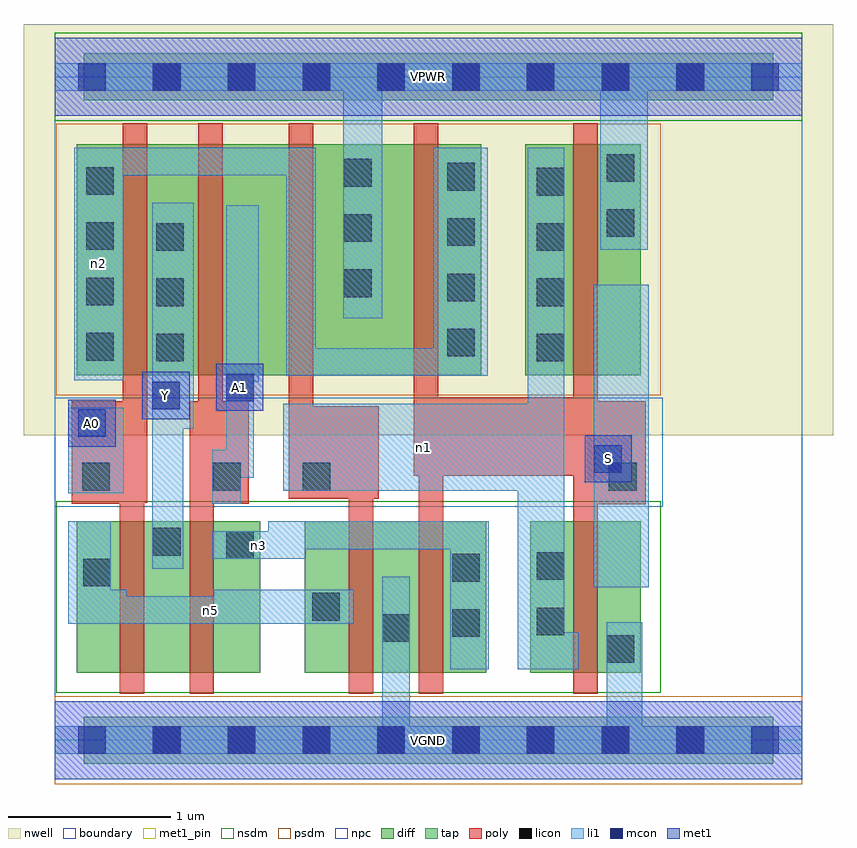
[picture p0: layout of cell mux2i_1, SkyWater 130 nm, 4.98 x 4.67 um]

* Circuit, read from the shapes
.subckt mux2i_1 A0 A1 S VGND VPWR Y n1 n2 n3 n5
XM1 Y A0 n5 VGND sky130_fd_pr__nfet_01v8 w=0.93 l=0.15
XM2 n3 A1 Y VGND sky130_fd_pr__nfet_01v8 w=0.93 l=0.15
XM3 VGND n1 n5 VGND sky130_fd_pr__nfet_01v8 w=0.93 l=0.15
XM4 n3 S VGND VGND sky130_fd_pr__nfet_01v8 w=0.93 l=0.15
XM5 VGND S n1 VGND sky130_fd_pr__nfet_01v8 w=0.93 l=0.15
XM6 Y A0 n2 VPWR sky130_fd_pr__pfet_01v8 w=1.42 l=0.15
XM7 n4 A1 Y VPWR sky130_fd_pr__pfet_01v8 w=1.42 l=0.15
XM8 VPWR n1 n4 VPWR sky130_fd_pr__pfet_01v8 w=1.42 l=0.15
XM9 n2 S VPWR VPWR sky130_fd_pr__pfet_01v8 w=1.42 l=0.15
XM10 VPWR S n1 VPWR sky130_fd_pr__pfet_01v8 w=1.42 l=0.15
.ends

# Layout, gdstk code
import gdstk
lib = gdstk.Library(unit=1e-6, precision=1e-09)
def R(c, l, rs):  # rectangles x0, y0, x1, y1
    for r in rs: c.add(gdstk.rectangle(r[:2], r[2:], *l))
def A(c, l, x, y, w, h, nx, ny, dx, dy):  # array of equal rectangles
    R(c, l, [(x+i*dx, y+j*dy, x+i*dx+w, y+j*dy+h) for i in range(nx) for j in range(ny)])
nwell = (64, 20)
diff = (65, 20)
tap = (65, 44)
poly = (66, 20)
licon = (66, 44)
li1 = (67, 20)
mcon = (67, 44)
met1_pin = (68, 16)
met1 = (68, 20)
nsdm = (93, 44)
psdm = (94, 20)
npc = (95, 20)
boundary = (235, 4)

mux2i_1 = lib.new_cell('mux2i_1')
R(mux2i_1, nwell, [(-0.19,1.875,4.79,4.405), (0,1.875,4.6,4.405)])
R(mux2i_1, diff, [(0.135,0.415,1.265,1.345), (1.54,0.415,2.655,1.345), (2.925,0.415,3.605,1.345), (0.135,2.245,2.625,3.665), (2.895,2.245,3.605,3.665)])
R(mux2i_1, tap, [(0.18,-0.145,4.42,0.145), (0.18,3.935,4.42,4.225)])
R(mux2i_1, poly, [(0.4,0.285,0.55,2.085), (0.83,0.285,0.98,2.085), (1.81,0.285,1.96,2.055), (2.24,0.285,2.39,2.11), (3.19,0.285,3.34,3.795), (3.19,1.45,3.635,2.085), (0.105,1.455,0.55,2.085), (0.83,1.455,1.195,2.085), (0.885,1.455,1.035,3.795), (0.42,1.46,0.57,3.795), (1.44,1.485,1.59,3.795), (1.44,1.485,1.995,2.055), (2.21,1.625,2.36,3.795), (2.21,1.625,3.34,2.11)])
A(mux2i_1, licon, 0.605, -0.085, 0.17, 0.17, 8, 2, 0.46, 4.08)
A(mux2i_1, licon, 0.625, 2.33, 0.17, 0.17, 1, 3, 0, 0.34)
A(mux2i_1, licon, 2.965, 2.33, 0.17, 0.17, 1, 4, 0, 0.34)
A(mux2i_1, licon, 0.195, 2.335, 0.17, 0.17, 1, 4, 0, 0.34)
A(mux2i_1, licon, 2.415, 2.36, 0.17, 0.17, 1, 4, 0, 0.34)
A(mux2i_1, licon, 1.78, 2.725, 0.17, 0.17, 1, 3, 0, 0.34)
R(mux2i_1, licon, [(3.395,0.475,3.565,0.645), (2.015,0.605,2.185,0.775), (2.445,0.635,2.615,0.805), (2.965,0.645,3.135,0.815), (1.585,0.735,1.755,0.905), (0.175,0.945,0.345,1.115), (2.445,0.975,2.615,1.145), (2.965,0.985,3.135,1.155), (1.055,1.115,1.225,1.285), (0.605,1.135,0.775,1.305), (0.17,1.535,0.34,1.705), (0.975,1.535,1.145,1.705), (1.525,1.535,1.695,1.705), (3.41,1.535,3.58,1.705), (3.395,3.095,3.565,3.265), (3.395,3.435,3.565,3.605)])
R(mux2i_1, li1, [(0,-0.085,4.6,0.085), (2.015,-0.085,2.185,1.005), (3.395,-0.085,3.615,0.725), (2.435,0.435,2.67,1.345), (2.85,0.435,3.135,2.07), (2.85,0.435,3.22,0.665), (2.91,0.435,3.135,3.645), (0.085,0.715,1.84,0.885), (0.085,0.715,0.345,1.345), (0.085,0.715,0.445,0.925), (0.98,0.715,1.84,0.925), (3.315,0.94,3.655,2.8), (0.6,1.055,0.79,3.305), (0.97,1.115,1.545,1.285), (1.315,1.175,2.435,1.345), (0.97,1.455,1.145,1.785), (0.085,1.52,0.425,2.045), (1.405,1.535,3.135,2.07), (1.145,1.615,1.225,3.29), (1.055,1.785,1.225,3.29), (0.6,1.915,0.855,3.305), (1.055,2.205,1.255,3.29), (0.12,2.215,0.425,3.645), (1.425,2.24,2.665,2.41), (1.425,2.24,1.605,3.645), (2.33,2.24,2.665,3.645), (1.775,2.595,2.015,4.165), (3.355,3.015,3.65,4.165), (0.12,3.475,1.605,3.645), (0,3.995,4.6,4.165)])
A(mux2i_1, mcon, 0.145, -0.085, 0.17, 0.17, 10, 2, 0.46, 4.08)
R(mux2i_1, mcon, [(3.32,1.645,3.49,1.815), (0.145,1.865,0.315,2.035), (0.6,2.035,0.77,2.205), (1.055,2.085,1.225,2.255)])
R(mux2i_1, met1_pin, [(0,-0.24,4.6,0.24), (3.26,1.585,3.55,1.875), (0.085,1.805,0.375,2.095), (0.54,1.975,0.83,2.265), (0.995,2.025,1.285,2.315), (0,3.84,4.6,4.32)])
R(mux2i_1, met1, [(0,-0.24,4.6,0.24), (3.26,1.585,3.55,1.875), (0.085,1.805,0.375,2.095), (0.54,1.975,0.83,2.265), (0.995,2.025,1.285,2.315), (0,3.84,4.6,4.32)])
R(mux2i_1, nsdm, [(0.01,0.29,3.73,1.47), (0,3.81,4.6,4.35)])
R(mux2i_1, psdm, [(0,-0.27,4.6,0.27), (0.01,2.12,3.73,3.79)])
R(mux2i_1, npc, [(0,1.435,3.74,2.105)])
R(mux2i_1, boundary, [(0,0,4.6,4.08)])
mux2i_1.add(gdstk.Label('n5', (0.962,0.8), layer=67, texttype=5))
mux2i_1.add(gdstk.Label('n3', (1.257,1.2), layer=67, texttype=5))
mux2i_1.add(gdstk.Label('n2', (0.272,2.93), layer=67, texttype=5))
mux2i_1.add(gdstk.Label('n1', (2.27,1.802), layer=67, texttype=5))
mux2i_1.add(gdstk.Label('A0', (0.23,1.95), layer=68, texttype=5))
mux2i_1.add(gdstk.Label('A1', (1.14,2.17), layer=68, texttype=5))
mux2i_1.add(gdstk.Label('S', (3.405,1.73), layer=68, texttype=5))
mux2i_1.add(gdstk.Label('Y', (0.685,2.12), layer=68, texttype=5))
mux2i_1.add(gdstk.Label('VPWR', (2.3,4.08), layer=68, texttype=5))
mux2i_1.add(gdstk.Label('VGND', (2.3,0), layer=68, texttype=5))
mux2i_1.add(gdstk.Label('A0', (0.23,1.95), layer=68, texttype=16))
mux2i_1.add(gdstk.Label('A1', (1.14,2.17), layer=68, texttype=16))
mux2i_1.add(gdstk.Label('S', (3.405,1.73), layer=68, texttype=16))
mux2i_1.add(gdstk.Label('Y', (0.685,2.12), layer=68, texttype=16))
mux2i_1.add(gdstk.Label('VPWR', (2.3,4.08), layer=68, texttype=16))
mux2i_1.add(gdstk.Label('VGND', (2.3,0), layer=68, texttype=16))

lib.write_gds('mux2i_1.gds')
